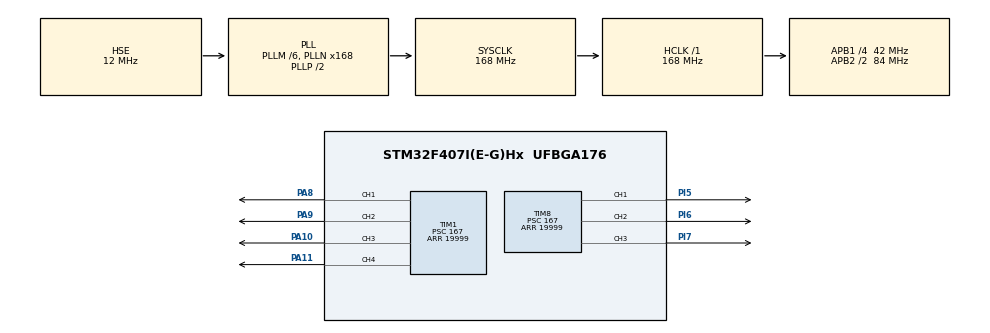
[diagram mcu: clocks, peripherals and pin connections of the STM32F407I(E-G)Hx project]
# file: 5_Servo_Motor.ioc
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Mcu.Family=STM32F4
Mcu.Name=STM32F407I(E-G)Hx
Mcu.Package=UFBGA176
NVIC.PriorityGroup=NVIC_PRIORITYGROUP_4
PA10.Signal=S_TIM1_CH3
PA11.Signal=S_TIM1_CH4
PA13.Mode=Serial_Wire
PA13.Signal=SYS_JTMS-SWDIO
PA14.Mode=Serial_Wire
PA14.Signal=SYS_JTCK-SWCLK
PA8.Signal=S_TIM1_CH1
PA9.Signal=S_TIM1_CH2
PH0-OSC_IN.Mode=HSE-External-Oscillator
PH0-OSC_IN.Signal=RCC_OSC_IN
PH1-OSC_OUT.Mode=HSE-External-Oscillator
PH1-OSC_OUT.Signal=RCC_OSC_OUT
PI5.Signal=S_TIM8_CH1
PI6.Signal=S_TIM8_CH2
PI7.Signal=S_TIM8_CH3
ProjectManager.HeapSize=0x200
ProjectManager.StackSize=0x400
ProjectManager.TargetToolchain=MDK-ARM V5.32
RCC.48MHZClocksFreq_Value=84000000
RCC.AHBFreq_Value=168000000
RCC.APB1CLKDivider=RCC_HCLK_DIV4
RCC.APB1Freq_Value=42000000
RCC.APB1TimFreq_Value=84000000
RCC.APB2CLKDivider=RCC_HCLK_DIV2
RCC.APB2Freq_Value=84000000
RCC.APB2TimFreq_Value=168000000
RCC.CortexFreq_Value=168000000
RCC.HCLKFreq_Value=168000000
RCC.HSE_VALUE=12000000
RCC.HSI_VALUE=16000000
RCC.LSE_VALUE=32768
RCC.PLLM=6
RCC.PLLN=168
RCC.PLLSourceVirtual=RCC_PLLSOURCE_HSE
RCC.SYSCLKFreq_VALUE=168000000
RCC.SYSCLKSource=RCC_SYSCLKSOURCE_PLLCLK
RCC.VCOOutputFreq_Value=336000000
SH.S_TIM1_CH1.0=TIM1_CH1,PWM Generation1 CH1
SH.S_TIM1_CH2.0=TIM1_CH2,PWM Generation2 CH2
SH.S_TIM1_CH3.0=TIM1_CH3,PWM Generation3 CH3
SH.S_TIM1_CH4.0=TIM1_CH4,PWM Generation4 CH4
SH.S_TIM8_CH1.0=TIM8_CH1,PWM Generation1 CH1
SH.S_TIM8_CH2.0=TIM8_CH2,PWM Generation2 CH2
SH.S_TIM8_CH3.0=TIM8_CH3,PWM Generation3 CH3
TIM1.Channel-PWM\ Generation1\ CH1=TIM_CHANNEL_1
TIM1.Channel-PWM\ Generation2\ CH2=TIM_CHANNEL_2
TIM1.Channel-PWM\ Generation3\ CH3=TIM_CHANNEL_3
TIM1.Channel-PWM\ Generation4\ CH4=TIM_CHANNEL_4
TIM1.Period=19999
TIM1.Prescaler=167
TIM1.Pulse-PWM\ Generation1\ CH1=2000
TIM1.Pulse-PWM\ Generation2\ CH2=2000
TIM1.Pulse-PWM\ Generation3\ CH3=2000
TIM1.Pulse-PWM\ Generation4\ CH4=2000
TIM8.Channel-PWM\ Generation1\ CH1=TIM_CHANNEL_1
TIM8.Channel-PWM\ Generation2\ CH2=TIM_CHANNEL_2
TIM8.Channel-PWM\ Generation3\ CH3=TIM_CHANNEL_3
TIM8.Period=19999
TIM8.Prescaler=167
TIM8.Pulse-PWM\ Generation1\ CH1=2000
TIM8.Pulse-PWM\ Generation2\ CH2=2000
TIM8.Pulse-PWM\ Generation3\ CH3=2000
VP_TIM1_VS_ClockSourceINT.Mode=Internal
VP_TIM8_VS_ClockSourceINT.Mode=Internal
board=custom

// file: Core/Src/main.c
/* USER CODE BEGIN Header */
/**
  ******************************************************************************
  * @file           : main.c
  * @brief          : Main program body
  ******************************************************************************
  * @attention
  *
  * Copyright (c) 2024 STMicroelectronics.
  * All rights reserved.
  *
  * This software is licensed under terms that can be found in the LICENSE file
  * in the root directory of this software component.
  * If no LICENSE file comes with this software, it is provided AS-IS.
  *
  ******************************************************************************
  */
/* USER CODE END Header */
#include "main.h"
#include "tim.h"
#include "gpio.h"

/* USER CODE BEGIN PD */
#define __HAL_TIM_SetCompare __HAL_TIM_SET_COMPARE
#define __HAL_TIM_SET_COMPARE(__HANDLE__, __CHANNEL__, __COMPARE__) \
(((__CHANNEL__) == TIM_CHANNEL_1) ? ((__HANDLE__)->Instance->CCR1 = (__COMPARE__)) :\
((__CHANNEL__) == TIM_CHANNEL_2) ? ((__HANDLE__)->Instance->CCR2 = (__COMPARE__)) :\
((__CHANNEL__) == TIM_CHANNEL_3) ? ((__HANDLE__)->Instance->CCR3 = (__COMPARE__)) :\
((__HANDLE__)->Instance->CCR4 = (__COMPARE__)))
/* USER CODE END PD */

void SystemClock_Config(void);

int main(void)
{

  /* MCU Configuration--------------------------------------------------------*/

  /* Reset of all peripherals, Initializes the Flash interface and the Systick. */
  HAL_Init();

  /* Configure the system clock */
  SystemClock_Config();

  /* Initialize all configured peripherals */
  MX_GPIO_Init();
  MX_TIM1_Init();
  MX_TIM8_Init();
  /* USER CODE BEGIN 2 */
  HAL_TIM_Base_Init(&htim1);
  HAL_TIM_Base_Init(&htim8);

  // HAL_TIM_PWM_Init(&htim1);
  // HAL_TIM_PWM_Init(&htim8);
  //这两个已经在MX_TIM1或8_Init();里面用过了.(定时器基本配置的一种[目前的理解])

  HAL_TIM_PWM_Start(&htim1,TIM_CHANNEL_1);
  HAL_TIM_PWM_Start(&htim1,TIM_CHANNEL_2);
  HAL_TIM_PWM_Start(&htim1,TIM_CHANNEL_3);
  HAL_TIM_PWM_Start(&htim1,TIM_CHANNEL_4);
  HAL_TIM_PWM_Start(&htim8,TIM_CHANNEL_1);
  HAL_TIM_PWM_Start(&htim8,TIM_CHANNEL_2);
  HAL_TIM_PWM_Start(&htim8,TIM_CHANNEL_3);
  /* USER CODE END 2 */

  /* Infinite loop */
  /* USER CODE BEGIN WHILE */
  while (1)
  {
    __HAL_TIM_SetCompare(&htim1,TIM_CHANNEL_1,500);
    __HAL_TIM_SetCompare(&htim1,TIM_CHANNEL_2,500);
    __HAL_TIM_SetCompare(&htim1,TIM_CHANNEL_3,500);
    __HAL_TIM_SetCompare(&htim1,TIM_CHANNEL_4,500);
    __HAL_TIM_SetCompare(&htim8,TIM_CHANNEL_1,500);
    __HAL_TIM_SetCompare(&htim8,TIM_CHANNEL_2,500);
    __HAL_TIM_SetCompare(&htim8,TIM_CHANNEL_3,500);
    HAL_Delay(1000);

    __HAL_TIM_SetCompare(&htim1,TIM_CHANNEL_1,2000);
    __HAL_TIM_SetCompare(&htim1,TIM_CHANNEL_2,2000);
    __HAL_TIM_SetCompare(&htim1,TIM_CHANNEL_3,2000);
    __HAL_TIM_SetCompare(&htim1,TIM_CHANNEL_4,2000);
    __HAL_TIM_SetCompare(&htim8,TIM_CHANNEL_1,2000);
    __HAL_TIM_SetCompare(&htim8,TIM_CHANNEL_2,2000);
    __HAL_TIM_SetCompare(&htim8,TIM_CHANNEL_3,2000);
    HAL_Delay(1000);
    /* USER CODE END WHILE */

  }
}

void SystemClock_Config(void)
{
  RCC_OscInitTypeDef RCC_OscInitStruct = {0};
  RCC_ClkInitTypeDef RCC_ClkInitStruct = {0};

  /** Configure the main internal regulator output voltage
  */
  __HAL_RCC_PWR_CLK_ENABLE();
  __HAL_PWR_VOLTAGESCALING_CONFIG(PWR_REGULATOR_VOLTAGE_SCALE1);

  /** Initializes the RCC Oscillators according to the specified parameters
  * in the RCC_OscInitTypeDef structure.
  */
  RCC_OscInitStruct.OscillatorType = RCC_OSCILLATORTYPE_HSE;
  RCC_OscInitStruct.HSEState = RCC_HSE_ON;
  RCC_OscInitStruct.PLL.PLLState = RCC_PLL_ON;
  RCC_OscInitStruct.PLL.PLLSource = RCC_PLLSOURCE_HSE;
  RCC_OscInitStruct.PLL.PLLM = 6;
  RCC_OscInitStruct.PLL.PLLN = 168;
  RCC_OscInitStruct.PLL.PLLP = RCC_PLLP_DIV2;
  RCC_OscInitStruct.PLL.PLLQ = 4;
  if (HAL_RCC_OscConfig(&RCC_OscInitStruct) != HAL_OK)
  {
    Error_Handler();
  }

  /** Initializes the CPU, AHB and APB buses clocks
  */
  RCC_ClkInitStruct.ClockType = RCC_CLOCKTYPE_HCLK|RCC_CLOCKTYPE_SYSCLK
                              |RCC_CLOCKTYPE_PCLK1|RCC_CLOCKTYPE_PCLK2;
  RCC_ClkInitStruct.SYSCLKSource = RCC_SYSCLKSOURCE_PLLCLK;
  RCC_ClkInitStruct.AHBCLKDivider = RCC_SYSCLK_DIV1;
  RCC_ClkInitStruct.APB1CLKDivider = RCC_HCLK_DIV4;
  RCC_ClkInitStruct.APB2CLKDivider = RCC_HCLK_DIV2;

  if (HAL_RCC_ClockConfig(&RCC_ClkInitStruct, FLASH_LATENCY_5) != HAL_OK)
  {
    Error_Handler();
  }
}

void Error_Handler(void)
{
  __disable_irq();
  while (1)
  {
  }
}
